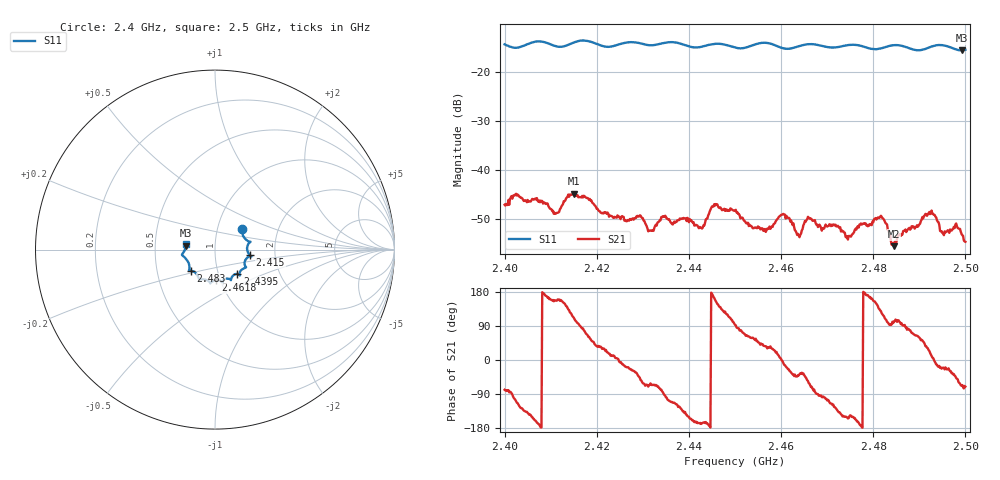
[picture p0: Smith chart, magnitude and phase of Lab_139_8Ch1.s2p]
# Hz S RI R 50
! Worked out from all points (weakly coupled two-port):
!   601 points, 2.4 GHz to 2.5 GHz, reference 50 ohm
!   highest |S21| = -44.86 dB at 2.415 GHz (marker M1); lowest = -55.5 dB at 2.4845 GHz (marker M2)
!   lowest |S11| = -15.7 dB at 2.4993 GHz (marker M3), VSWR 1.39, Z = 36 + j1.59 ohm
!   |S11| at or under -10 dB: start of sweep to end of sweep
!   S12 and S22 are empty: the file has one direction only
!   S11 on the Smith chart (normalised r, x): 2.4 GHz: 1.31, +0.31; 2.415 GHz: 1.48, -0.10; 2.4395 GHz: 1.23, -0.34; 2.4618 GHz: 0.95, -0.33; 2.483 GHz: 0.74, -0.18; 2.5 GHz: 0.72, +0.05
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2.4e9  0.1507 0.1141  0.000878 -0.00433  0 0  0 0
2.4025e9  0.1583 0.0741  -0.00188 -0.00539  0 0  0 0
2.411167e9  0.1802 0.0178  -0.00331 0.00141  0 0  0 0
2.415e9  0.1947 -0.0319  -0.00212 0.0053  0 0  0 0
2.416667e9  0.2034 -0.0378  0.000426 0.00522  0 0  0 0
2.431667e9  0.1439 -0.1166  0.00114 -0.00213  0 0  0 0
2.433333e9  0.1368 -0.1315  0.00101 -0.00276  0 0  0 0
2.4395e9  0.1241 -0.1353  -0.00245 -0.00175  0 0  0 0
2.4425e9  0.0967 -0.1492  -0.00253 -0.00063  0 0  0 0
2.45e9  0.0692 -0.1616  -0.000192 0.00384  0 0  0 0
2.456333e9  0.0435 -0.1916  0.00199 0.0015  0 0  0 0
2.461833e9  0.00398 -0.1709  0.00281 -0.00155  0 0  0 0
2.463833e9  -0.0189 -0.1801  0.00162 -0.0014  0 0  0 0
2.466667e9  -0.026 -0.1885  0.00103 -0.00296  0 0  0 0
2.4745e9  -0.0828 -0.1667  -0.00176 -0.000849  0 0  0 0
2.481333e9  -0.1192 -0.1221  -0.00226 0.00232  0 0  0 0
2.483e9  -0.1357 -0.1179  -0.000511 0.00273  0 0  0 0
2.483333e9  -0.1384 -0.1177  -0.000238 0.00238  0 0  0 0
2.4845e9  -0.144 -0.1172  -0.000348 0.00164  0 0  0 0
2.492333e9  -0.1728 -0.04  0.00335 0.00115  0 0  0 0
2.499333e9  -0.1629 0.0215  0.000874 -0.00198  0 0  0 0
2.5e9  -0.1634 0.0334  0.000625 -0.00175  0 0  0 0
